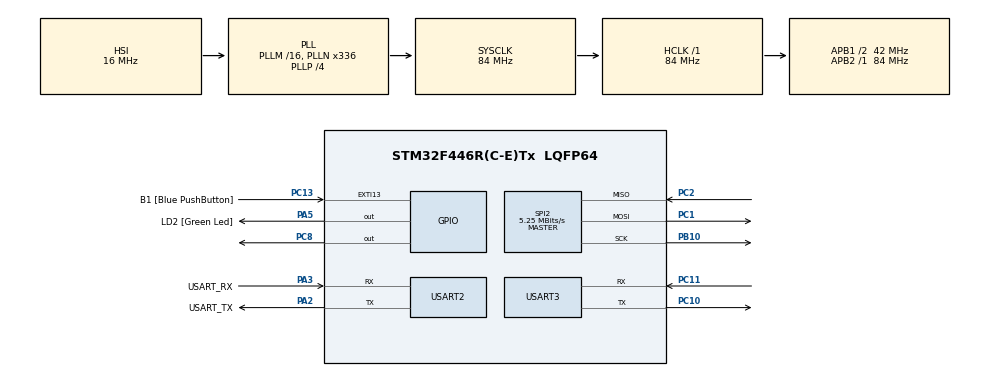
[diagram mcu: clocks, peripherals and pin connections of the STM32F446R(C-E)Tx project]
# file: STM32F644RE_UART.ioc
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Mcu.Family=STM32F4
Mcu.Name=STM32F446R(C-E)Tx
Mcu.Package=LQFP64
NVIC.PriorityGroup=NVIC_PRIORITYGROUP_0
PA13.GPIO_Label=TMS
PA13.Mode=Serial_Wire
PA13.Signal=SYS_JTMS-SWDIO
PA14.GPIO_Label=TCK
PA14.Mode=Serial_Wire
PA14.Signal=SYS_JTCK-SWCLK
PA2.GPIO_Label=USART_TX
PA2.Mode=Asynchronous
PA2.Signal=USART2_TX
PA3.GPIO_Label=USART_RX
PA3.Mode=Asynchronous
PA3.Signal=USART2_RX
PA5.GPIO_Label=LD2 [Green Led]
PA5.Signal=GPIO_Output
PB10.Mode=Full_Duplex_Master
PB10.Signal=SPI2_SCK
PB3.GPIO_Label=SWO
PB3.Signal=SYS_JTDO-SWO
PC1.Mode=Full_Duplex_Master
PC1.Signal=SPI2_MOSI
PC10.Mode=Asynchronous
PC10.Signal=USART3_TX
PC11.Mode=Asynchronous
PC11.Signal=USART3_RX
PC13.GPIO_Label=B1 [Blue PushButton]
PC13.GPIO_ModeDefaultEXTI=GPIO_MODE_IT_FALLING
PC13.Signal=GPXTI13
PC14-OSC32_IN.Mode=LSE-External-Oscillator
PC14-OSC32_IN.Signal=RCC_OSC32_IN
PC15-OSC32_OUT.Mode=LSE-External-Oscillator
PC15-OSC32_OUT.Signal=RCC_OSC32_OUT
PC2.Mode=Full_Duplex_Master
PC2.Signal=SPI2_MISO
PC8.Signal=GPIO_Output
PH0-OSC_IN.Mode=HSE-External-Oscillator
PH0-OSC_IN.Signal=RCC_OSC_IN
PH1-OSC_OUT.Mode=HSE-External-Oscillator
PH1-OSC_OUT.Signal=RCC_OSC_OUT
ProjectManager.HeapSize=0x200
ProjectManager.StackSize=0x400
ProjectManager.TargetToolchain=SW4STM32
RCC.48MHZClocksFreq_Value=84000000
RCC.AHBFreq_Value=84000000
RCC.APB1CLKDivider=RCC_HCLK_DIV2
RCC.APB1Freq_Value=42000000
RCC.APB1TimFreq_Value=84000000
RCC.APB2Freq_Value=84000000
RCC.APB2TimFreq_Value=84000000
RCC.CortexFreq_Value=84000000
RCC.FLatency-AdvancedSettings=FLASH_LATENCY_2
RCC.HCLKFreq_Value=84000000
RCC.HSE_VALUE=8000000
RCC.HSI_VALUE=16000000
RCC.PLLN=336
RCC.PLLP=RCC_PLLP_DIV4
RCC.SYSCLKFreq_VALUE=84000000
RCC.SYSCLKSource=RCC_SYSCLKSOURCE_PLLCLK
RCC.USBFreq_Value=168000000
RCC.VCOOutputFreq_Value=336000000
SPI2.BaudRatePrescaler=SPI_BAUDRATEPRESCALER_8
SPI2.CLKPhase=SPI_PHASE_1EDGE
SPI2.CLKPolarity=SPI_POLARITY_LOW
SPI2.CalculateBaudRate=5.25 MBits/s
SPI2.Direction=SPI_DIRECTION_2LINES
SPI2.Mode=SPI_MODE_MASTER
SPI2.VirtualType=VM_MASTER
USART2.VirtualMode=VM_ASYNC
USART3.VirtualMode=VM_ASYNC
board=NUCLEO-F446RE

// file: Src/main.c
/* USER CODE BEGIN Header */
/**
  ******************************************************************************
  * @file           : main.c
  * @brief          : Main program body
  ******************************************************************************
  * @attention
  *
  * <h2><center>&copy; Copyright (c) 2019 STMicroelectronics.
  * All rights reserved.</center></h2>
  *
  * This software component is licensed by ST under BSD 3-Clause license,
  * the "License"; You may not use this file except in compliance with the
  * License. You may obtain a copy of the License at:
  *                        opensource.org/licenses/BSD-3-Clause
  *
  ******************************************************************************
  */
/* USER CODE END Header */

#include "main.h"

/* USER CODE BEGIN Includes */
#include <stdio.h>
#include <string.h>
/* USER CODE END Includes */

/* USER CODE BEGIN PTD */
#define SPI_TIMEOUT_MAX				0x1000
#define CMD_LENGTH					((uint16_t)0x0004)

#define COMM_SPI_READ				0x03
#define COMM_SPI_WRITE				0x02

#define ESC_WRITE 		   			0x80
#define ESC_READ 		   			0xC0
#define ECAT_CSR_BUSY     			0x80

#define AL_CONTROL              	0x0120      			// AL control
#define AL_STATUS               	0x0130      			// AL status
#define AL_STATUS_CODE          	0x0134      			// AL status code
#define AL_EVENT                	0x0220      			// AL event request
#define AL_EVENT_MASK           	0x0204      			// AL event interrupt mask

#define TOT_BYTE_NUM_OUT			1
#define TOT_BYTE_NUM_IN				8
#define TOT_BYTE_NUM_ROUND_OUT		4
#define TOT_BYTE_NUM_ROUND_IN		8

#define PRAM_ABORT        			0x40000000
#define PRAM_BUSY         			0x80
#define PRAM_AVAIL        			0x01
#define READY             			0x08
#define DUMMY_BYTE					0xFF

#define BYTE_TEST               	0x0064      			// byte order test register
#define HW_CFG                  	0x0074      			// hardware configuration register
#define RESET_CTL               	0x01F8      			// reset register
#define ECAT_CSR_DATA           	0x0300      			// EtherCAT CSR Interface Data Register
#define ECAT_CSR_CMD            	0x0304      			// EtherCAT CSR Interface Command Register
#define ECAT_PRAM_RD_ADDR_LEN   	0x0308      			// EtherCAT Process RAM Read Address and Length Register
#define ECAT_PRAM_RD_CMD        	0x030C      			// EtherCAT Process RAM Read Command Register
#define ECAT_PRAM_WR_ADDR_LEN   	0x0310      			// EtherCAT Process RAM Write Address and Length Register
#define ECAT_PRAM_WR_CMD        	0x0314      			// EtherCAT Process RAM Write Command Register
#define WDOG_STATUS             	0x0440      			// watch dog status

#define DIGITAL_RST       			0x00000001

#define ESM_INIT                	0x01          			// state machine control
#define ESM_PREOP               	0x02          			// (state request)
#define ESM_BOOT                	0x03          			//
#define ESM_SAFEOP              	0x04          			// safe-operational
#define ESM_OP                  	0x08          			// operational

#define Tout 						1000
/* USER CODE END PTD */

/* USER CODE BEGIN PD */
typedef union {
    unsigned short  Word;
    unsigned char   Byte[2];
} UWORD;

typedef union {
    unsigned long   Long;
    unsigned short  Word[2];
    unsigned char   Byte[4];
} ULONG;

typedef union {
	uint8_t  Byte [TOT_BYTE_NUM_ROUND_OUT];
	struct {
		uint8_t     Leds;
	} Cust;
} PROCBUFFER_OUT;

typedef union {
	uint8_t  Byte [TOT_BYTE_NUM_ROUND_IN];
	struct {
		uint16_t    Analog_0;
		uint16_t    Analog_1;
		uint16_t    Bit16_RisingTestRamp;
		uint8_t     DipSwitches;
		uint8_t     Bit8_FallingTestRamp;
	} Cust;
} PROCBUFFER_IN;
/* USER CODE END PD */

SPI_HandleTypeDef hspi2;

UART_HandleTypeDef huart2;
UART_HandleTypeDef huart3;

/* USER CODE BEGIN PV */
unsigned long SPIReadRegisterDirect(unsigned short Address, unsigned char Len);
void SPIWriteRegisterDirect (unsigned short Address, unsigned long DataOut);
unsigned long SPIReadRegisterIndirect (unsigned short Address, unsigned char Len);
void SPIWriteRegisterIndirect (unsigned long DataOut, unsigned short Address, unsigned char Len);
void SPIWriteProcRamFifo(void);
void SPIReadProcRamFifo(void);
/* USER CODE END PV */

void SystemClock_Config(void);
static void MX_GPIO_Init(void);
static void MX_USART2_UART_Init(void);
static void MX_USART3_UART_Init(void);
static void MX_SPI2_Init(void);
/* USER CODE BEGIN PFP */
uint8_t 		IsDeviceInitiated = 0x1;
PROCBUFFER_OUT 	BufferOut;
PROCBUFFER_IN 	BufferIn;
/* USER CODE END PFP */

/* USER CODE BEGIN 0 */
unsigned long SPIReadRegisterDirect (unsigned short Address, unsigned char Len) {
	ULONG Command, Result;
	UWORD Addr;
	char uartbuffer[64] = {0};

	Addr.Word = Address;
	HAL_GPIO_WritePin(GPIOC, GPIO_PIN_8, GPIO_PIN_RESET);

	Command.Byte[0] = COMM_SPI_READ;
	Command.Byte[1] = Addr.Byte[1];
	Command.Byte[2] = Addr.Byte[0];

	if (HAL_SPI_Transmit(&hspi2, Command.Byte, 3, SPI_TIMEOUT_MAX) != HAL_OK) {
		memset(uartbuffer, 0, 64);
		sprintf(uartbuffer, "ERROR# HAL_SPI_Transmit\r\n\r\n");
		HAL_UART_Transmit(&huart3, (uint8_t *)uartbuffer, sizeof(uartbuffer), HAL_MAX_DELAY);
	}

	if (HAL_SPI_Receive(&hspi2, Result.Byte, Len, SPI_TIMEOUT_MAX) != HAL_OK) {
		memset(uartbuffer, 0, 64);
		sprintf(uartbuffer, "ERROR# HAL_SPI_Receive\r\n\r\n");
		HAL_UART_Transmit(&huart3, (uint8_t *)uartbuffer, sizeof(uartbuffer), HAL_MAX_DELAY);
	}

	HAL_GPIO_WritePin(GPIOC, GPIO_PIN_8, GPIO_PIN_SET);

	return Result.Long;
}

void SPIWriteRegisterDirect (unsigned short Address, unsigned long DataOut) {
  ULONG Data;
  UWORD Addr;
  uint8_t Buffer[8] = {0};
  char uartbuffer[64] = {0};

  Addr.Word = Address;
  Data.Long = DataOut;

  Buffer[0] = COMM_SPI_WRITE;
  Buffer[1] = Addr.Byte[1];
  Buffer[2] = Addr.Byte[0];
  Buffer[3] = Data.Byte[0];
  Buffer[4] = Data.Byte[1];
  Buffer[5] = Data.Byte[2];
  Buffer[6] = Data.Byte[3];

  HAL_GPIO_WritePin(GPIOC, GPIO_PIN_8, GPIO_PIN_RESET);

  if (HAL_SPI_Transmit(&hspi2, Buffer, 7, SPI_TIMEOUT_MAX) != HAL_OK) {
	memset(uartbuffer, 0, 64);
	sprintf(uartbuffer, "ERROR# HAL_SPI_Transmit\r\n\r\n");
	HAL_UART_Transmit(&huart3, (uint8_t *)uartbuffer, sizeof(uartbuffer), HAL_MAX_DELAY);
  }

  HAL_GPIO_WritePin(GPIOC, GPIO_PIN_8, GPIO_PIN_SET);
}

unsigned long SPIReadRegisterIndirect (unsigned short Address, unsigned char Len) {
  ULONG TempLong;
  UWORD Addr;

  Addr.Word = Address;

  /*
	CSR_BUSY	|	R_nW	|	RESERVED	|	CSR_SIZE	|	CSR_ADDR
	31			|	30		|	29:19		|	18:16		|	15:0
   */
  TempLong.Byte[0] = Addr.Byte[0];                          // address of the register
  TempLong.Byte[1] = Addr.Byte[1];                          // to read, LsByte first
  TempLong.Byte[2] = Len;                                   // number of bytes to read
  TempLong.Byte[3] = ESC_READ;                              // ESC read
  SPIWriteRegisterDirect (ECAT_CSR_CMD, TempLong.Long);

  // wait for command execution
  do {
	TempLong.Long = SPIReadRegisterDirect(ECAT_CSR_CMD, 4);
  } while(TempLong.Byte[3] & ECAT_CSR_BUSY);

  TempLong.Long = SPIReadRegisterDirect(ECAT_CSR_DATA, Len); // read the requested register

  return TempLong.Long;
}

void SPIWriteRegisterIndirect (unsigned long DataOut, unsigned short Address, unsigned char Len) {
  ULONG TempLong;
  UWORD Addr;

  Addr.Word = Address;

  SPIWriteRegisterDirect(ECAT_CSR_DATA, DataOut);            	// write the data

  TempLong.Byte[0] = Addr.Byte[0];                            	// address of the register
  TempLong.Byte[1] = Addr.Byte[1];                            	// to write, LsByte first
  TempLong.Byte[2] = Len;                                     	// number of bytes to write
  TempLong.Byte[3] = ESC_WRITE;                               	// ESC write

  SPIWriteRegisterDirect(ECAT_CSR_CMD, TempLong.Long);       	// write the command

  do {
    TempLong.Long = SPIReadRegisterDirect(ECAT_CSR_CMD, 4);
  } while (TempLong.Byte[3] & ECAT_CSR_BUSY);
}

#define FST_BYTE_NUM_ROUND_IN TOT_BYTE_NUM_IN
/*
 * From master
 */
void SPIWriteProcRamFifo(void) {
  ULONG TempLong;
  unsigned char i;
  uint8_t Buffer[32] = {0};
  char uartbuffer[64] = {0};

  // abort any possible pending transfer
  SPIWriteRegisterDirect(ECAT_PRAM_WR_CMD, PRAM_ABORT);
  SPIWriteRegisterDirect(ECAT_PRAM_WR_ADDR_LEN, (0x00001200 | (((uint32_t)TOT_BYTE_NUM_IN) << 16)));
  // start command (set PRAM_WRITE_BUSY)
  SPIWriteRegisterDirect(ECAT_PRAM_WR_CMD, 0x80000000);

  do {
      TempLong.Long = SPIReadRegisterDirect (ECAT_PRAM_WR_CMD,2);
  } while (TempLong.Byte[1] < (FST_BYTE_NUM_ROUND_IN/4));

  Buffer[0] = COMM_SPI_WRITE;
  Buffer[1] = 0x00; // address of the write fifo
  Buffer[2] = 0x20; // MsByte first (ECAT_PRAM_WR_DATA 020h-03Ch [ETHERCAT PROCESS RAM WRITE DATA FIFO])

  // transfer the data
  for (i = 0; i < FST_BYTE_NUM_ROUND_IN; i++) {
	  Buffer[3 + i] = BufferIn.Byte[i];
  }

  HAL_GPIO_WritePin(GPIOC, GPIO_PIN_8, GPIO_PIN_RESET);
  if (HAL_SPI_Transmit(&hspi2, Buffer, FST_BYTE_NUM_ROUND_IN + 3, SPI_TIMEOUT_MAX) != HAL_OK) {
	memset(uartbuffer, 0, 64);
	sprintf(uartbuffer, "ERROR# HAL_SPI_Transmit\r\n\r\n");
	HAL_UART_Transmit(&huart3, (uint8_t *)uartbuffer, sizeof(uartbuffer), HAL_MAX_DELAY);
  }
  HAL_GPIO_WritePin(GPIOC, GPIO_PIN_8, GPIO_PIN_SET);

  memset(uartbuffer, 0, 64);
  sprintf(uartbuffer, ">TRANSMIT\r\n");
  HAL_UART_Transmit(&huart3, (uint8_t *)uartbuffer, sizeof(uartbuffer), HAL_MAX_DELAY);
}

#define FST_BYTE_NUM_ROUND_OUT TOT_BYTE_NUM_OUT
/*
 * To master
 */
void SPIReadProcRamFifo(void) {
  ULONG TempLong;
  unsigned char i;
  uint8_t Buffer[32] = {0};

  // abort any possible pending transfer
  SPIWriteRegisterDirect (ECAT_PRAM_RD_CMD, PRAM_ABORT);
  SPIWriteRegisterDirect (ECAT_PRAM_RD_ADDR_LEN, (0x00001000 | (((uint32_t)TOT_BYTE_NUM_OUT) << 16)));
  // start command
  SPIWriteRegisterDirect (ECAT_PRAM_RD_CMD, 0x80000000);

  do {
	TempLong.Long = SPIReadRegisterDirect (ECAT_PRAM_RD_CMD,2);
  } while (TempLong.Byte[1] != (FST_BYTE_NUM_ROUND_OUT/4));

  Buffer[0] = COMM_SPI_READ;
  Buffer[1] = 0x00; // address of the read FIFO
  Buffer[2] = 0x00; // FIFO MsByte first
  HAL_GPIO_WritePin(GPIOC, GPIO_PIN_8, GPIO_PIN_RESET);

  // write command
  if (HAL_SPI_Transmit(&hspi2, Buffer, 3, SPI_TIMEOUT_MAX) != HAL_OK) {
    HAL_UART_Transmit(&huart3, (uint8_t *)"ERROR# HAL_SPI_Transmit\r\n", 25, HAL_MAX_DELAY);
  }

  if (HAL_SPI_Receive(&hspi2, BufferOut.Byte, FST_BYTE_NUM_ROUND_OUT, SPI_TIMEOUT_MAX) != HAL_OK) {
  	HAL_UART_Transmit(&huart3, (uint8_t *)"ERROR# HAL_SPI_Receive\r\n", 24, HAL_MAX_DELAY);
  }

  HAL_GPIO_WritePin(GPIOC, GPIO_PIN_8, GPIO_PIN_SET);
}

/* USER CODE END 0 */

int main(void)
{

  /* MCU Configuration--------------------------------------------------------*/

  /* Reset of all peripherals, Initializes the Flash interface and the Systick. */
  HAL_Init();

  /* Configure the system clock */
  SystemClock_Config();

  /* Initialize all configured peripherals */
  MX_GPIO_Init();
  MX_USART2_UART_Init();
  MX_USART3_UART_Init();
  MX_SPI2_Init();
  /* USER CODE BEGIN 2 */

  char buffer[64] = {0};
  ULONG TempLong;
  unsigned char WatchDog = 0;
  unsigned char Operational = 0;
  unsigned char Status;

  SPIWriteRegisterDirect (RESET_CTL, DIGITAL_RST);

  unsigned short i = 0;
  do {
    TempLong.Long = SPIReadRegisterDirect (RESET_CTL, 4);
    sprintf(buffer, "SPI# (RESET_CTL) 0x%08x \r\n", TempLong.Long);
    HAL_UART_Transmit(&huart3, (uint8_t *)buffer, sizeof(buffer), HAL_MAX_DELAY);
    i++;
  } while (((TempLong.Byte[0] & 0x01) != 0x00) && (i != Tout));

  if (i == Tout) {
	IsDeviceInitiated = 0x0;
  }

  i = 0;
  do {
	TempLong.Long = SPIReadRegisterDirect (BYTE_TEST, 4);
	sprintf(buffer, "SPI# (BYTE_TEST) 0x%08x \r\n", TempLong.Long);
	HAL_UART_Transmit(&huart3, (uint8_t *)buffer, sizeof(buffer), HAL_MAX_DELAY);
	i++;
  } while ((TempLong.Long != 0x87654321) && (i != Tout));

  if (i == Tout) {
	IsDeviceInitiated = 0x0;
  }

  i = 0;
  do {
	TempLong.Long = SPIReadRegisterDirect (HW_CFG, 4);
	sprintf(buffer, "SPI# (HW_CFG) 0x%08x \r\n", TempLong.Long);
	HAL_UART_Transmit(&huart3, (uint8_t *)buffer, sizeof(buffer), HAL_MAX_DELAY);
	i++;
  } while (((TempLong.Byte[3] & READY) == 0) && (i != Tout));

  if (i == Tout) {
    IsDeviceInitiated = 0x0;
  }

  /* USER CODE END 2 */

  /* Infinite loop */
  /* USER CODE BEGIN WHILE */
  while (1) {
	uint32_t current_tick = HAL_GetTick();
	if (IsDeviceInitiated) {
	  TempLong.Long = SPIReadRegisterIndirect(WDOG_STATUS, 1); // read the watchdog status
	  if ((TempLong.Byte[0] & 0x01) == 0x01) {
		  WatchDog = 0;	// set/reset the corresponding flag
	  } else {
		  WatchDog = 1;
	  }

	  TempLong.Long = SPIReadRegisterIndirect (AL_STATUS, 1);   // read the EtherCAT State Machine status
	  Status = TempLong.Byte[0] & 0x0F;                         // to see if we are in operational state
	  if (Status == ESM_OP) {
		  Operational = 1;
	  } else {
		  Operational = 0;
	  }

	  SPIWriteProcRamFifo();

	  memset(buffer, 0, 64);
	  sprintf(buffer, "WatchDog: %d, Operational: %d (STATUS:0x%08x)\r\n", WatchDog, Operational, Status);
	  HAL_UART_Transmit(&huart3, (uint8_t *)buffer, sizeof(buffer), HAL_MAX_DELAY);
	} else {
		memset(buffer, 0, 64);
		sprintf(buffer, "Something wrong, no communication with device\r\n");
		HAL_UART_Transmit(&huart3, (uint8_t *)buffer, sizeof(buffer), HAL_MAX_DELAY);
	}

	while (HAL_GetTick() <= (current_tick + 500));

    /* USER CODE END WHILE */

  }
}

void SystemClock_Config(void)
{
  RCC_OscInitTypeDef RCC_OscInitStruct = {0};
  RCC_ClkInitTypeDef RCC_ClkInitStruct = {0};

  /** Configure the main internal regulator output voltage
  */
  __HAL_RCC_PWR_CLK_ENABLE();
  __HAL_PWR_VOLTAGESCALING_CONFIG(PWR_REGULATOR_VOLTAGE_SCALE3);
  /** Initializes the CPU, AHB and APB busses clocks
  */
  RCC_OscInitStruct.OscillatorType = RCC_OSCILLATORTYPE_HSI;
  RCC_OscInitStruct.HSIState = RCC_HSI_ON;
  RCC_OscInitStruct.HSICalibrationValue = RCC_HSICALIBRATION_DEFAULT;
  RCC_OscInitStruct.PLL.PLLState = RCC_PLL_ON;
  RCC_OscInitStruct.PLL.PLLSource = RCC_PLLSOURCE_HSI;
  RCC_OscInitStruct.PLL.PLLM = 16;
  RCC_OscInitStruct.PLL.PLLN = 336;
  RCC_OscInitStruct.PLL.PLLP = RCC_PLLP_DIV4;
  RCC_OscInitStruct.PLL.PLLQ = 2;
  RCC_OscInitStruct.PLL.PLLR = 2;
  if (HAL_RCC_OscConfig(&RCC_OscInitStruct) != HAL_OK)
  {
    Error_Handler();
  }
  /** Initializes the CPU, AHB and APB busses clocks
  */
  RCC_ClkInitStruct.ClockType = RCC_CLOCKTYPE_HCLK|RCC_CLOCKTYPE_SYSCLK
                              |RCC_CLOCKTYPE_PCLK1|RCC_CLOCKTYPE_PCLK2;
  RCC_ClkInitStruct.SYSCLKSource = RCC_SYSCLKSOURCE_PLLCLK;
  RCC_ClkInitStruct.AHBCLKDivider = RCC_SYSCLK_DIV1;
  RCC_ClkInitStruct.APB1CLKDivider = RCC_HCLK_DIV2;
  RCC_ClkInitStruct.APB2CLKDivider = RCC_HCLK_DIV1;

  if (HAL_RCC_ClockConfig(&RCC_ClkInitStruct, FLASH_LATENCY_2) != HAL_OK)
  {
    Error_Handler();
  }
}

static void MX_SPI2_Init(void)
{

  /* SPI2 parameter configuration*/
  hspi2.Instance = SPI2;
  hspi2.Init.Mode = SPI_MODE_MASTER;
  hspi2.Init.Direction = SPI_DIRECTION_2LINES;
  hspi2.Init.DataSize = SPI_DATASIZE_8BIT;
  hspi2.Init.CLKPolarity = SPI_POLARITY_LOW;
  hspi2.Init.CLKPhase = SPI_PHASE_1EDGE;
  hspi2.Init.NSS = SPI_NSS_SOFT;
  hspi2.Init.BaudRatePrescaler = SPI_BAUDRATEPRESCALER_8;
  hspi2.Init.FirstBit = SPI_FIRSTBIT_MSB;
  hspi2.Init.TIMode = SPI_TIMODE_DISABLE;
  hspi2.Init.CRCCalculation = SPI_CRCCALCULATION_DISABLE;
  hspi2.Init.CRCPolynomial = 10;
  if (HAL_SPI_Init(&hspi2) != HAL_OK)
  {
    Error_Handler();
  }

}

static void MX_USART2_UART_Init(void)
{

  huart2.Instance = USART2;
  huart2.Init.BaudRate = 115200;
  huart2.Init.WordLength = UART_WORDLENGTH_8B;
  huart2.Init.StopBits = UART_STOPBITS_1;
  huart2.Init.Parity = UART_PARITY_NONE;
  huart2.Init.Mode = UART_MODE_TX_RX;
  huart2.Init.HwFlowCtl = UART_HWCONTROL_NONE;
  huart2.Init.OverSampling = UART_OVERSAMPLING_16;
  if (HAL_UART_Init(&huart2) != HAL_OK)
  {
    Error_Handler();
  }

}

static void MX_USART3_UART_Init(void)
{

  huart3.Instance = USART3;
  huart3.Init.BaudRate = 115200;
  huart3.Init.WordLength = UART_WORDLENGTH_8B;
  huart3.Init.StopBits = UART_STOPBITS_1;
  huart3.Init.Parity = UART_PARITY_NONE;
  huart3.Init.Mode = UART_MODE_TX_RX;
  huart3.Init.HwFlowCtl = UART_HWCONTROL_NONE;
  huart3.Init.OverSampling = UART_OVERSAMPLING_16;
  if (HAL_UART_Init(&huart3) != HAL_OK)
  {
    Error_Handler();
  }

}

static void MX_GPIO_Init(void)
{
  GPIO_InitTypeDef GPIO_InitStruct = {0};

  /* GPIO Ports Clock Enable */
  __HAL_RCC_GPIOC_CLK_ENABLE();
  __HAL_RCC_GPIOH_CLK_ENABLE();
  __HAL_RCC_GPIOA_CLK_ENABLE();
  __HAL_RCC_GPIOB_CLK_ENABLE();

  /*Configure GPIO pin Output Level */
  HAL_GPIO_WritePin(LD2_GPIO_Port, LD2_Pin, GPIO_PIN_RESET);

  /*Configure GPIO pin Output Level */
  HAL_GPIO_WritePin(GPIOC, GPIO_PIN_8, GPIO_PIN_RESET);

  /*Configure GPIO pin : B1_Pin */
  GPIO_InitStruct.Pin = B1_Pin;
  GPIO_InitStruct.Mode = GPIO_MODE_IT_FALLING;
  GPIO_InitStruct.Pull = GPIO_NOPULL;
  HAL_GPIO_Init(B1_GPIO_Port, &GPIO_InitStruct);

  /*Configure GPIO pin : LD2_Pin */
  GPIO_InitStruct.Pin = LD2_Pin;
  GPIO_InitStruct.Mode = GPIO_MODE_OUTPUT_PP;
  GPIO_InitStruct.Pull = GPIO_NOPULL;
  GPIO_InitStruct.Speed = GPIO_SPEED_FREQ_LOW;
  HAL_GPIO_Init(LD2_GPIO_Port, &GPIO_InitStruct);

  /*Configure GPIO pin : PC8 */
  GPIO_InitStruct.Pin = GPIO_PIN_8;
  GPIO_InitStruct.Mode = GPIO_MODE_OUTPUT_PP;
  GPIO_InitStruct.Pull = GPIO_NOPULL;
  GPIO_InitStruct.Speed = GPIO_SPEED_FREQ_LOW;
  HAL_GPIO_Init(GPIOC, &GPIO_InitStruct);

}

void Error_Handler(void)
{
}

/************************ (C) COPYRIGHT STMicroelectronics *****END OF FILE****/
